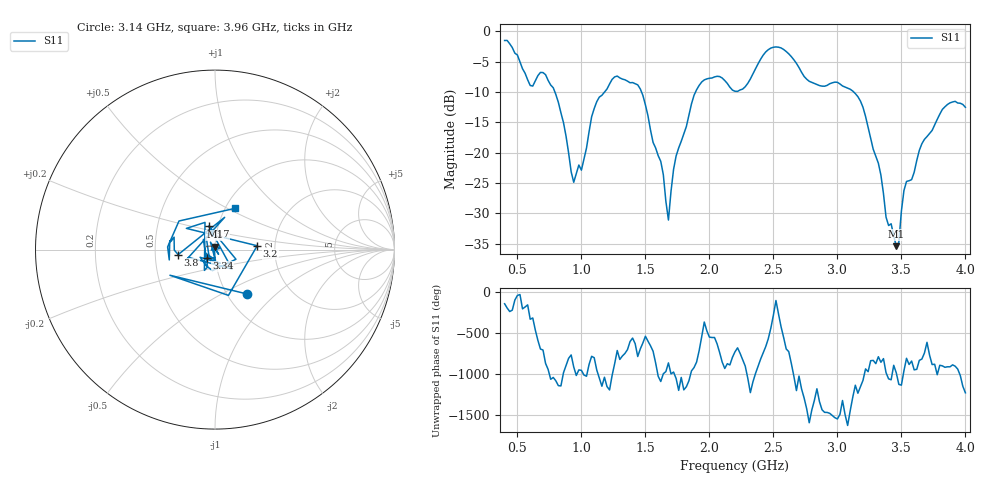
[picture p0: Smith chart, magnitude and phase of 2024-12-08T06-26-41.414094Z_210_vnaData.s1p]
!Created with skrf (http://scikit-rf.org).
# Hz S RI R 50.0
!freq ReS11 ImS11
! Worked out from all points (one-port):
!   181 points, 400 MHz to 4 GHz, reference 50 ohm
!   lowest |S11| = -35.4 dB at 3.46 GHz (marker M1), VSWR 1.03, Z = 49.8 + j1.68 ohm
!   |S11| at or under -10 dB: 792.6 MHz to 1.182 GHz (389 MHz wide, 39.4 % of centre); 1.469 GHz to 1.892 GHz (422.8 MHz wide, 25.2 % of centre); 3.127 GHz to end of sweep
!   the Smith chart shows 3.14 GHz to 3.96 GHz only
!   S11 on the Smith chart (normalised r, x): 3.14 GHz: 1.24, -0.68; 3.2 GHz: 1.61, +0.07; 3.34 GHz: 0.91, -0.08; 3.7 GHz: 0.90, +0.24; 3.8 GHz: 0.66, -0.04; 3.96 GHz: 1.11, +0.54
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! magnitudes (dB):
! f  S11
! 400 MHz  -1.5
! 600 MHz  -8.9
! 720 MHz  -7.2
! 860 MHz  -15.1
! 940 MHz  -24.9
! 1.12 GHz  -11.6
! 1.3 GHz  -7.7
! 1.48 GHz  -10.6
! 1.62 GHz  -21.4
! 1.68 GHz  -31.1
! 1.76 GHz  -19.2
! 1.94 GHz  -8.4
! 2.2 GHz  -9.9
! 2.48 GHz  -2.8
! 2.66 GHz  -4.7
! 3.1 GHz  -9.6
! 3.14 GHz  -10.3
! 3.2 GHz  -12.5
! 3.34 GHz  -23.7
! 3.38 GHz  -30.6
! 3.46 GHz  -35.4
! 3.48 GHz  -34.8
! 3.52 GHz  -26.3
! 3.56 GHz  -24.6
! 3.7 GHz  -17.4
! 3.8 GHz  -13.7
! 3.96 GHz  -11.9
! 4 GHz  -12.5
